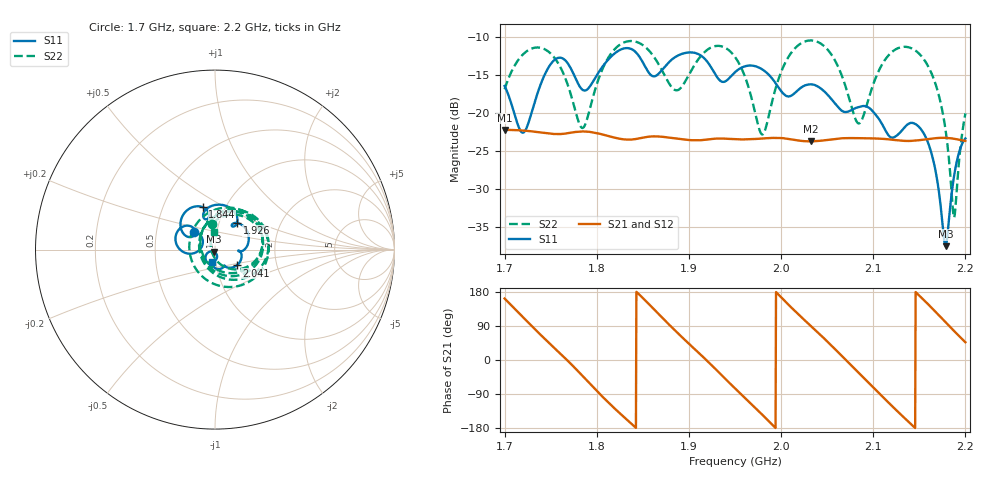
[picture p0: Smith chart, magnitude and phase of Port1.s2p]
# Hz S RI R 50
! CMT, CMT808U, 21440046, 21.4.3/4
! Date: 4/9/2026 1:40:16 AM
! Data: Format (Calibration Info)
! Freq	S11:Re/Im(F2)	S41:Re/Im(F2)	S14:Re/Im(F2)	S44:Re/Im(F2)
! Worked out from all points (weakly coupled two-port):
!   1001 points, 1.7 GHz to 2.2 GHz, reference 50 ohm
!   highest |S21| = -22.18 dB at 1.7 GHz (marker M1); lowest = -23.7 dB at 2.032 GHz (marker M2)
!   lowest |S11| = -37.5 dB at 2.179 GHz (marker M3), VSWR 1.03, Z = 49.4 - j1.2 ohm
!   |S11| at or under -10 dB: start of sweep to end of sweep
!   |S22| runs from -33.7 to -10.4 dB; largest |S21 - S12| = 0.001
!   S11 on the Smith chart (normalised r, x): 1.7 GHz: 0.78, +0.15; 1.844 GHz: 0.78, +0.39; 1.926 GHz: 1.22, +0.37; 2.041 GHz: 1.25, -0.23; 2.2 GHz: 0.96, -0.13
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1.7e9  -0.1169 0.0966  -0.0741 0.0238  -0.0741 0.0229  -0.0163 0.1432
1.72e9  -0.0711 0.0224  -0.03 0.071  -0.0307 0.0704  0.1625 0.1831
1.7435e9  -0.1794 -0.0117  0.0417 0.0614  0.0408 0.0617  0.2642 -0.0125
1.762e9  -0.2061 0.1056  0.0713 0.0166  0.0707 0.0174  0.1284 -0.1446
1.7835e9  -0.111 0.0931  0.0588 -0.0482  0.0592 -0.0472  -0.0724 -0.0354
1.8135e9  -0.1915 0.127  -0.0291 -0.0644  -0.0282 -0.0646  0.1047 0.2135
1.844e9  -0.0688 0.2367  -0.068 0.00284  -0.0678 0.00198  0.2887 -0.0576
1.867e9  -0.0594 0.1722  -0.0368 0.06  -0.0374 0.0594  0.0468 -0.206
1.8925e9  -0.00859 0.2466  0.0336 0.0585  0.0327 0.0588  -0.1393 0.057
1.926e9  0.1224 0.1482  0.065 -0.0197  0.0651 -0.0188  0.2016 0.1867
1.95e9  0.113 0.1488  0.0177 -0.0651  0.0186 -0.0647  0.2249 -0.0691
1.98e9  0.1876 0.0498  -0.0562 -0.0389  -0.0555 -0.0395  -0.0677 -0.0265
2.0075e9  0.1291 -0.00671  -0.0572 0.0368  -0.0575 0.0359  0.0729 0.2211
2.032e9  0.143 -0.0605  -0.000601 0.0653  -0.0015 0.0653  0.292 0.0782
2.0335e9  0.1403 -0.0663  0.00326 0.0653  0.00234 0.0653  0.2959 0.0612
2.0405e9  0.1205 -0.0885  0.0211 0.0623  0.0202 0.0625  0.2935 -0.0194
2.084e9  0.0419 -0.1018  0.0573 -0.0378  0.0577 -0.0369  -0.0825 -0.0239
2.117e9  -0.0118 -0.0702  -0.0268 -0.0619  -0.0258 -0.0621  0.1222 0.2097
2.1555e9  -0.0532 -0.0493  -0.0618 0.0264  -0.0622 0.0255  0.2121 -0.0736
2.1785e9  -0.00548 -0.0122  -0.0117 0.068  -0.0127 0.0677  0.0215 -0.0744
2.188e9  0.0117 -0.0378  0.0166 0.0659  0.0157 0.0661  -0.0205 -0.00242
2.2e9  -0.014 -0.0669  0.045 0.0481  0.0443 0.0487  -0.00403 0.0998
